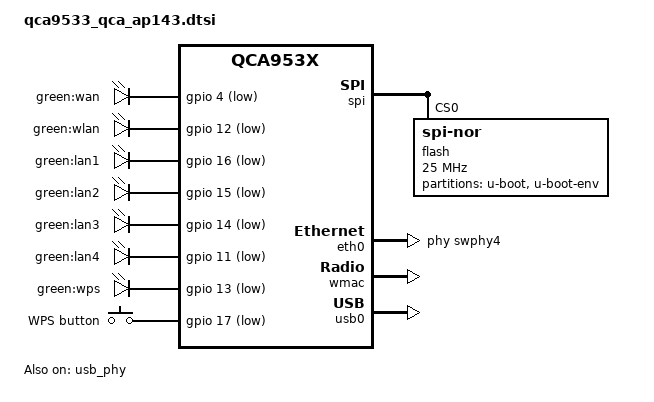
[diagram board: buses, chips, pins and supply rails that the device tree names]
// SPDX-License-Identifier: GPL-2.0-or-later OR MIT

#include "qca953x.dtsi"

#include <dt-bindings/gpio/gpio.h>
#include <dt-bindings/input/input.h>
#include <dt-bindings/mtd/partitions/uimage.h>

/ {
	aliases {
		led-boot = &led_wps;
		led-failsafe = &led_wps;
		led-running = &led_wps;
		led-upgrade = &led_wps;
	};

	leds {
		compatible = "gpio-leds";

		wan {
			label = "green:wan";
			gpios = <&gpio 4 GPIO_ACTIVE_LOW>;
		};

		wlan {
			label = "green:wlan";
			gpios = <&gpio 12 GPIO_ACTIVE_LOW>;
			linux,default-trigger = "phy0tpt";
		};

		lan1 {
			label = "green:lan1";
			gpios = <&gpio 16 GPIO_ACTIVE_LOW>;
		};

		lan2 {
			label = "green:lan2";
			gpios = <&gpio 15 GPIO_ACTIVE_LOW>;
		};

		lan3 {
			label = "green:lan3";
			gpios = <&gpio 14 GPIO_ACTIVE_LOW>;
		};

		lan4 {
			label = "green:lan4";
			gpios = <&gpio 11 GPIO_ACTIVE_LOW>;
		};

		led_wps: wps {
			label = "green:wps";
			gpios = <&gpio 13 GPIO_ACTIVE_LOW>;
		};
	};

	keys {
		compatible = "gpio-keys";

		wps {
			label = "WPS button";
			linux,code = <KEY_WPS_BUTTON>;
			gpios = <&gpio 17 GPIO_ACTIVE_LOW>;
			debounce-interval = <60>;
		};
	};
};

&spi {
	status = "okay";

	flash@0 {
		compatible = "jedec,spi-nor";
		reg = <0>;
		spi-max-frequency = <25000000>;

		partitions: partitions {
			compatible = "fixed-partitions";
			#address-cells = <1>;
			#size-cells = <1>;

			partition@0 {
				label = "u-boot";
				reg = <0x000000 0x040000>;
				read-only;
			};

			partition@40000 {
				label = "u-boot-env";
				reg = <0x040000 0x010000>;
				read-only;
			};
		};
	};
};

&eth0 {
	status = "okay";

	phy-handle = <&swphy4>;
};

&eth1 {
	gmac-config {
		device = <&gmac>;
	};
};

&wmac {
	status = "okay";
};

&usb0 {
	status = "okay";
};

&usb_phy {
	status = "okay";
};
